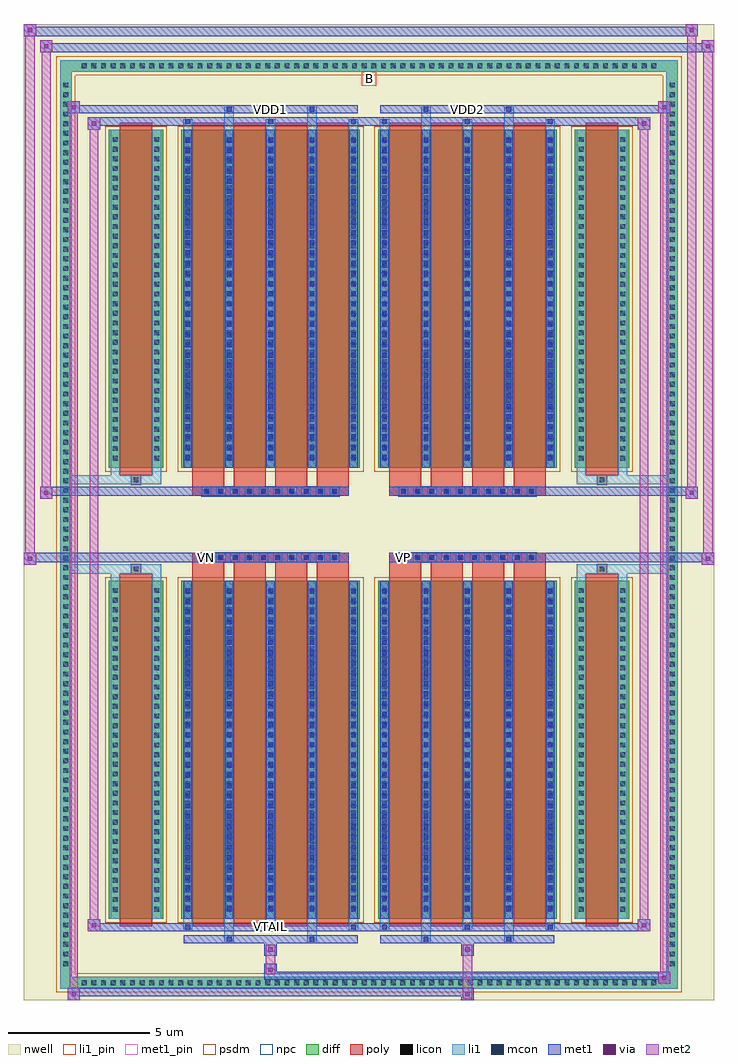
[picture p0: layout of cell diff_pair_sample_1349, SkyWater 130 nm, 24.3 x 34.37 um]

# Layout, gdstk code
import gdstk
lib = gdstk.Library(unit=1e-6, precision=5e-09)
def R(c, l, rs):  # rectangles x0, y0, x1, y1
    for r in rs: c.add(gdstk.rectangle(r[:2], r[2:], *l))
def A(c, l, x, y, w, h, nx, ny, dx, dy):  # array of equal rectangles
    R(c, l, [(x+i*dx, y+j*dy, x+i*dx+w, y+j*dy+h) for i in range(nx) for j in range(ny)])
def P(c, l, *ps):  # polygons
    for p in ps: c.add(gdstk.Polygon(p, *l))
nwell = (64, 20)
diff = (65, 20)
poly = (66, 20)
licon = (66, 44)
li1_pin = (67, 16)
li1 = (67, 20)
mcon = (67, 44)
met1_pin = (68, 16)
met1 = (68, 20)
via = (68, 44)
met2 = (69, 20)
psdm = (94, 20)
npc = (95, 20)

diff_pair_sample_1349 = lib.new_cell('diff_pair_sample_1349')
R(diff_pair_sample_1349, nwell, [(-12.15,-16.75,12.15,17.62), (-9.47,-14.94,-0.01,-0.8), (0.01,-14.94,9.47,-0.8), (-9.47,0.8,-0.01,14.94), (0.01,0.8,9.47,14.94)])
A(diff_pair_sample_1349, diff, -10.235, -16.35, 0.41, 0.41, 60, 2, 0.34, 32.29)
A(diff_pair_sample_1349, diff, -10.88, -15.675, 0.41, 0.41, 1, 92, 0, 0.34)
A(diff_pair_sample_1349, diff, 10.47, -15.675, 0.41, 0.41, 1, 92, 0, 0.34)
R(diff_pair_sample_1349, diff, [(-10.235,-16.35,10.235,-15.94), (-10.88,-15.675,-10.47,15.675), (10.47,-15.675,10.88,15.675), (-9.16,-13.895,-7.25,-1.985), (-6.61,-13.895,-0.32,-1.985), (0.32,-13.895,6.61,-1.985), (7.25,-13.895,9.16,-1.985), (-9.16,1.985,-7.25,13.895), (-6.61,1.985,-0.32,13.895), (0.32,1.985,6.61,13.895), (7.25,1.985,9.16,13.895), (-10.235,15.94,10.235,16.35)])
P(diff_pair_sample_1349, diff, [(10.88,16.35),(-10.88,16.35),(-10.88,-15.94),(-10.47,-15.94),(-10.47,15.94),(10.47,15.94),(10.47,-15.94),(-10.47,-15.94),(-10.88,-15.94),(-10.88,-16.35),(10.88,-16.35)])
A(diff_pair_sample_1349, poly, -6.22, -14.145, 1.13, 12.41, 4, 2, 1.46, 15.88)
A(diff_pair_sample_1349, poly, 0.71, -14.145, 1.13, 12.41, 4, 2, 1.46, 15.88)
A(diff_pair_sample_1349, poly, -6.22, -1.735, 1.13, 0.405, 4, 2, 1.46, 3.065)
A(diff_pair_sample_1349, poly, 0.71, -1.735, 1.13, 0.405, 4, 2, 1.46, 3.065)
A(diff_pair_sample_1349, poly, -5.88, -1.33, 0.33, 0.33, 10, 2, 0.5, 2.33)
A(diff_pair_sample_1349, poly, 1.05, -1.33, 0.33, 0.33, 10, 2, 0.5, 2.33)
R(diff_pair_sample_1349, poly, [(-8.77,-14.145,-7.64,-1.735), (7.64,-14.145,8.77,-1.735), (-8.37,-1.735,-8.04,-1.405), (-8.37,-1.735,-8.04,-1.405), (8.04,-1.735,8.37,-1.405), (8.04,-1.735,8.37,-1.405), (-6.22,-1.33,-0.71,-1), (0.71,-1.33,6.22,-1), (-6.22,1,-0.71,1.33), (0.71,1,6.22,1.33), (-8.37,1.405,-8.04,1.735), (-8.37,1.405,-8.04,1.735), (8.04,1.405,8.37,1.735), (8.04,1.405,8.37,1.735), (-8.77,1.735,-7.64,14.145), (7.64,1.735,8.77,14.145)])
A(diff_pair_sample_1349, licon, -10.115, -16.23, 0.17, 0.17, 60, 2, 0.34, 32.29)
A(diff_pair_sample_1349, licon, -10.76, -15.555, 0.17, 0.17, 1, 92, 0, 0.34)
A(diff_pair_sample_1349, licon, 10.59, -15.555, 0.17, 0.17, 1, 92, 0, 0.34)
A(diff_pair_sample_1349, licon, -9.02, -13.635, 0.17, 0.17, 1, 34, 0, 0.34)
A(diff_pair_sample_1349, licon, -7.56, -13.635, 0.17, 0.17, 1, 34, 0, 0.34)
A(diff_pair_sample_1349, licon, -6.47, -13.635, 0.17, 0.17, 5, 34, 1.46, 0.34)
A(diff_pair_sample_1349, licon, 0.46, -13.635, 0.17, 0.17, 5, 34, 1.46, 0.34)
A(diff_pair_sample_1349, licon, 7.39, -13.635, 0.17, 0.17, 1, 34, 0, 0.34)
A(diff_pair_sample_1349, licon, 8.85, -13.635, 0.17, 0.17, 1, 34, 0, 0.34)
A(diff_pair_sample_1349, licon, -5.8, -1.25, 0.17, 0.17, 10, 2, 0.5, 2.33)
A(diff_pair_sample_1349, licon, 1.13, -1.25, 0.17, 0.17, 10, 2, 0.5, 2.33)
A(diff_pair_sample_1349, licon, -9.02, 2.245, 0.17, 0.17, 1, 34, 0, 0.34)
A(diff_pair_sample_1349, licon, -7.56, 2.245, 0.17, 0.17, 1, 34, 0, 0.34)
A(diff_pair_sample_1349, licon, -6.47, 2.245, 0.17, 0.17, 5, 34, 1.46, 0.34)
A(diff_pair_sample_1349, licon, 0.46, 2.245, 0.17, 0.17, 5, 34, 1.46, 0.34)
A(diff_pair_sample_1349, licon, 7.39, 2.245, 0.17, 0.17, 1, 34, 0, 0.34)
A(diff_pair_sample_1349, licon, 8.85, 2.245, 0.17, 0.17, 1, 34, 0, 0.34)
R(diff_pair_sample_1349, licon, [(-8.29,-1.655,-8.12,-1.485), (8.12,-1.655,8.29,-1.485), (-8.29,1.485,-8.12,1.655), (8.12,1.485,8.29,1.655)])
R(diff_pair_sample_1349, li1_pin, [(-0.25,15.44,0.25,15.94)])
A(diff_pair_sample_1349, li1, -10.195, -16.31, 0.33, 0.33, 60, 2, 0.34, 32.29)
A(diff_pair_sample_1349, li1, -10.84, -15.635, 0.33, 0.33, 1, 92, 0, 0.34)
A(diff_pair_sample_1349, li1, 10.51, -15.635, 0.33, 0.33, 1, 92, 0, 0.34)
A(diff_pair_sample_1349, li1, -6.55, -14.27, 0.33, 0.375, 3, 2, 2.92, 28.165)
A(diff_pair_sample_1349, li1, -6.47, -14.27, 0.17, 0.17, 3, 2, 2.92, 28.37)
A(diff_pair_sample_1349, li1, 0.38, -14.27, 0.33, 0.375, 3, 2, 2.92, 28.165)
A(diff_pair_sample_1349, li1, 0.46, -14.27, 0.17, 0.17, 3, 2, 2.92, 28.37)
A(diff_pair_sample_1349, li1, -6.55, -13.895, 0.33, 11.91, 5, 2, 1.46, 15.88)
A(diff_pair_sample_1349, li1, 0.38, -13.895, 0.33, 11.91, 5, 2, 1.46, 15.88)
A(diff_pair_sample_1349, li1, -9.1, -13.715, 0.33, 0.33, 1, 34, 0, 0.34)
A(diff_pair_sample_1349, li1, -7.64, -13.715, 0.33, 0.33, 1, 34, 0, 0.34)
A(diff_pair_sample_1349, li1, -6.55, -13.715, 0.33, 0.33, 5, 34, 1.46, 0.34)
A(diff_pair_sample_1349, li1, 0.38, -13.715, 0.33, 0.33, 5, 34, 1.46, 0.34)
A(diff_pair_sample_1349, li1, 7.31, -13.715, 0.33, 0.33, 1, 34, 0, 0.34)
A(diff_pair_sample_1349, li1, 8.77, -13.715, 0.33, 0.33, 1, 34, 0, 0.34)
A(diff_pair_sample_1349, li1, -6.47, -13.605, 0.17, 0.17, 5, 32, 1.46, 0.36)
A(diff_pair_sample_1349, li1, -6.47, -13.605, 0.17, 11.33, 5, 2, 1.46, 15.88)
A(diff_pair_sample_1349, li1, 0.46, -13.605, 0.17, 0.17, 5, 32, 1.46, 0.36)
A(diff_pair_sample_1349, li1, 0.46, -13.605, 0.17, 11.33, 5, 2, 1.46, 15.88)
A(diff_pair_sample_1349, li1, -5.88, -1.33, 0.33, 0.33, 10, 2, 0.5, 2.33)
A(diff_pair_sample_1349, li1, 1.05, -1.33, 0.33, 0.33, 10, 2, 0.5, 2.33)
A(diff_pair_sample_1349, li1, -9.1, 2.165, 0.33, 0.33, 1, 34, 0, 0.34)
A(diff_pair_sample_1349, li1, -7.64, 2.165, 0.33, 0.33, 1, 34, 0, 0.34)
A(diff_pair_sample_1349, li1, -6.55, 2.165, 0.33, 0.33, 5, 34, 1.46, 0.34)
A(diff_pair_sample_1349, li1, 0.38, 2.165, 0.33, 0.33, 5, 34, 1.46, 0.34)
A(diff_pair_sample_1349, li1, 7.31, 2.165, 0.33, 0.33, 1, 34, 0, 0.34)
A(diff_pair_sample_1349, li1, 8.77, 2.165, 0.33, 0.33, 1, 34, 0, 0.34)
A(diff_pair_sample_1349, li1, -6.47, 2.275, 0.17, 0.17, 5, 32, 1.46, 0.36)
A(diff_pair_sample_1349, li1, 0.46, 2.275, 0.17, 0.17, 5, 32, 1.46, 0.36)
R(diff_pair_sample_1349, li1, [(-10.88,-16.35,-10.47,-15.94), (-10.88,-16.35,-10.47,-15.94), (-10.47,-16.35,10.47,-15.94), (10.47,-16.35,10.88,-15.94), (10.47,-16.35,10.88,-15.94), (-10.88,-15.94,-10.47,15.94), (10.47,-15.94,10.88,15.94), (-5.09,-14.7,-4.76,-13.895), (-5.01,-14.7,-4.84,-14.53), (-2.17,-14.7,-1.84,-13.895), (-2.09,-14.7,-1.92,-14.53), (1.84,-14.7,2.17,-13.895), (1.92,-14.7,2.09,-14.53), (4.76,-14.7,5.09,-13.895), (4.84,-14.7,5.01,-14.53), (-9.1,-13.895,-8.77,-1.985), (-7.64,-13.895,-7.31,-1.985), (7.31,-13.895,7.64,-1.985), (8.77,-13.895,9.1,-1.985), (-9.1,-1.985,-8.77,-1.405), (-7.64,-1.985,-7.31,-1.405), (7.31,-1.985,7.64,-1.405), (8.77,-1.985,9.1,-1.405), (-10.88,-1.735,-8.37,-1.405), (-9.1,-1.735,-8.37,-1.405), (-8.37,-1.735,-8.04,-1.405), (-8.04,-1.735,-7.31,-1.405), (7.31,-1.735,8.04,-1.405), (8.04,-1.735,8.37,-1.405), (8.04,-1.735,10.88,-1.405), (8.37,-1.735,9.1,-1.405), (-10.88,1.405,-8.37,1.735), (-9.1,1.405,-8.37,1.735), (-9.1,1.405,-8.77,1.985), (-8.37,1.405,-8.04,1.735), (-8.04,1.405,-7.31,1.735), (-7.64,1.405,-7.31,1.985), (7.31,1.405,8.04,1.735), (7.31,1.405,7.64,1.985), (8.04,1.405,8.37,1.735), (8.04,1.405,10.88,1.735), (8.37,1.405,9.1,1.735), (8.77,1.405,9.1,1.985), (-9.1,1.985,-8.77,13.895), (-7.64,1.985,-7.31,13.895), (7.31,1.985,7.64,13.895), (8.77,1.985,9.1,13.895), (-5.09,13.895,-4.76,14.7), (-2.17,13.895,-1.84,14.7), (1.84,13.895,2.17,14.7), (4.76,13.895,5.09,14.7), (-5.01,14.53,-4.84,14.7), (-2.09,14.53,-1.92,14.7), (1.92,14.53,2.09,14.7), (4.84,14.53,5.01,14.7), (-10.88,15.94,-10.47,16.35), (-10.88,15.94,-10.47,16.35), (-10.47,15.94,10.47,16.35), (10.47,15.94,10.88,16.35), (10.47,15.94,10.88,16.35)])
A(diff_pair_sample_1349, mcon, -6.47, -14.27, 0.17, 0.17, 3, 2, 2.92, 28.37)
A(diff_pair_sample_1349, mcon, 0.46, -14.27, 0.17, 0.17, 3, 2, 2.92, 28.37)
A(diff_pair_sample_1349, mcon, -6.47, -13.605, 0.17, 0.17, 5, 32, 1.46, 0.36)
A(diff_pair_sample_1349, mcon, 0.46, -13.605, 0.17, 0.17, 5, 32, 1.46, 0.36)
A(diff_pair_sample_1349, mcon, -5.8, -1.25, 0.17, 0.17, 10, 2, 0.5, 2.33)
A(diff_pair_sample_1349, mcon, 1.13, -1.25, 0.17, 0.17, 10, 2, 0.5, 2.33)
A(diff_pair_sample_1349, mcon, -6.47, 2.275, 0.17, 0.17, 5, 32, 1.46, 0.36)
A(diff_pair_sample_1349, mcon, 0.46, 2.275, 0.17, 0.17, 5, 32, 1.46, 0.36)
R(diff_pair_sample_1349, mcon, [(-5.01,-14.7,-4.84,-14.53), (-2.09,-14.7,-1.92,-14.53), (1.92,-14.7,2.09,-14.53), (4.84,-14.7,5.01,-14.53), (-5.01,14.53,-4.84,14.7), (-2.09,14.53,-1.92,14.7), (1.92,14.53,2.09,14.7), (4.84,14.53,5.01,14.7)])
R(diff_pair_sample_1349, met1_pin, [(-3.6,-14.31,-3.33,-14.04), (-5.85,-1.29,-5.58,-1.02), (1.08,-1.29,1.35,-1.02), (-3.6,14.49,-3.33,14.76), (3.33,14.49,3.6,14.76)])
A(diff_pair_sample_1349, met1, -6.53, -14.33, 0.29, 0.29, 3, 2, 2.92, 28.37)
A(diff_pair_sample_1349, met1, 0.4, -14.33, 0.29, 0.29, 3, 2, 2.92, 28.37)
A(diff_pair_sample_1349, met1, -6.53, -13.895, 0.29, 11.91, 5, 2, 1.46, 15.88)
A(diff_pair_sample_1349, met1, 0.4, -13.895, 0.29, 11.91, 5, 2, 1.46, 15.88)
A(diff_pair_sample_1349, met1, -6.53, -13.665, 0.29, 0.29, 5, 32, 1.46, 0.36)
A(diff_pair_sample_1349, met1, 0.4, -13.665, 0.29, 0.29, 5, 32, 1.46, 0.36)
A(diff_pair_sample_1349, met1, -5.86, -1.31, 0.29, 0.29, 10, 2, 0.5, 2.33)
A(diff_pair_sample_1349, met1, 1.07, -1.31, 0.29, 0.29, 10, 2, 0.5, 2.33)
A(diff_pair_sample_1349, met1, -6.53, 2.215, 0.29, 0.29, 5, 32, 1.46, 0.36)
A(diff_pair_sample_1349, met1, 0.4, 2.215, 0.29, 0.29, 5, 32, 1.46, 0.36)
R(diff_pair_sample_1349, met1, [(-10.61,-16.75,-10.18,-16.32), (3.25,-16.75,3.68,-16.32), (-10.61,-16.61,3.68,-16.32), (10.18,-16.18,10.61,-15.75), (-3.68,-16.04,10.61,-15.75), (-3.68,-15.9,-3.25,-15.47), (-3.68,-15.19,-3.25,-14.76), (3.25,-15.19,3.68,-14.76), (-6.53,-14.76,-0.4,-14.47), (-5.07,-14.76,-4.78,-14.47), (-2.15,-14.76,-1.86,-14.47), (0.4,-14.76,6.53,-14.47), (1.86,-14.76,2.15,-14.47), (4.78,-14.76,5.07,-14.47), (-9.9,-14.33,-9.47,-13.9), (-9.9,-14.33,-6.53,-14.04), (-6.53,-14.33,-0.4,-14.04), (-0.4,-14.33,0.4,-14.04), (0.4,-14.33,6.53,-14.04), (6.53,-14.33,9.9,-14.04), (9.47,-14.33,9.9,-13.9), (-12.15,-1.43,-11.72,-1), (11.72,-1.43,12.15,-1), (-12.15,-1.33,-0.71,-1), (-6.22,-1.33,-0.71,-1), (0.71,-1.33,6.22,-1), (0.71,-1.33,12.15,-1), (-11.58,0.9,-11.15,1.33), (11.15,0.9,11.58,1.33), (-11.58,1,-6.22,1.33), (-6.22,1,-0.71,1.33), (0.71,1,6.22,1.33), (6.22,1,11.58,1.33), (-9.9,13.9,-9.47,14.33), (9.47,13.9,9.9,14.33), (-9.9,14.04,-6.53,14.33), (-6.53,14.04,-0.4,14.33), (-0.4,14.04,0.4,14.33), (0.4,14.04,6.53,14.33), (6.53,14.04,9.9,14.33), (-10.61,14.47,-10.18,14.9), (-10.61,14.47,-6.53,14.76), (-6.53,14.47,-0.4,14.76), (-5.07,14.47,-4.78,14.76), (-2.15,14.47,-1.86,14.76), (0.4,14.47,6.53,14.76), (1.86,14.47,2.15,14.76), (4.78,14.47,5.07,14.76), (6.53,14.47,10.61,14.76), (10.18,14.47,10.61,14.9), (-11.58,16.62,-11.15,17.05), (-11.58,16.62,-9.47,16.95), (-9.47,16.62,9.47,16.95), (9.47,16.62,12.15,16.95), (11.72,16.62,12.15,17.05), (-12.15,17.19,-11.72,17.62), (-12.15,17.19,-9.47,17.52), (-9.47,17.19,9.47,17.52), (9.47,17.19,11.58,17.52), (11.15,17.19,11.58,17.62)])
R(diff_pair_sample_1349, via, [(-10.47,-16.61,-10.32,-16.46), (3.39,-16.61,3.54,-16.46), (10.32,-16.04,10.47,-15.89), (-3.54,-15.76,-3.39,-15.61), (-3.54,-15.05,-3.39,-14.9), (3.39,-15.05,3.54,-14.9), (-9.76,-14.19,-9.61,-14.04), (9.61,-14.19,9.76,-14.04), (-12.01,-1.29,-11.86,-1.14), (11.86,-1.29,12.01,-1.14), (-11.44,1.04,-11.29,1.19), (11.29,1.04,11.44,1.19), (-9.76,14.04,-9.61,14.19), (9.61,14.04,9.76,14.19), (-10.47,14.61,-10.32,14.76), (10.32,14.61,10.47,14.76), (-11.44,16.76,-11.29,16.91), (11.86,16.76,12.01,16.91), (-12.01,17.33,-11.86,17.48), (11.29,17.33,11.44,17.48)])
R(diff_pair_sample_1349, met2, [(-10.61,-16.75,-10.18,-16.32), (-10.54,-16.75,-10.25,14.9), (-10.25,-16.75,-10.18,-16.32), (-10.56,-16.7,-10.23,-16.37), (3.3,-16.7,3.63,-16.37), (3.3,-16.37,3.63,-15.14), (10.18,-16.18,10.61,-15.75), (10.25,-16.18,10.54,14.9), (10.54,-16.18,10.61,-15.75), (10.23,-16.13,10.56,-15.8), (-3.63,-15.85,-3.3,-15.52), (-3.63,-15.52,-3.3,-15.14), (-3.63,-15.14,-3.3,-14.81), (3.3,-15.14,3.63,-14.81), (-9.9,-14.33,-9.47,-13.9), (-9.83,-14.33,-9.54,14.33), (-9.54,-14.33,-9.47,-13.9), (9.47,-14.33,9.9,-13.9), (9.54,-14.33,9.83,14.33), (9.83,-14.33,9.9,-13.9), (-9.85,-14.28,-9.52,-13.95), (9.52,-14.28,9.85,-13.95), (-12.15,-1.43,-11.72,-1), (-12.1,-1.43,-11.77,17.62), (-11.77,-1.43,-11.72,-1), (11.72,-1.43,12.15,-1), (11.77,-1.43,12.1,17.05), (12.1,-1.43,12.15,-1), (-12.1,-1.38,-11.77,-1.05), (11.77,-1.38,12.1,-1.05), (-11.58,0.9,-11.15,1.33), (-11.53,0.9,-11.2,17.05), (-11.2,0.9,-11.15,1.33), (11.15,0.9,11.58,1.33), (11.2,0.9,11.53,17.62), (11.53,0.9,11.58,1.33), (-11.53,0.95,-11.2,1.28), (11.2,0.95,11.53,1.28), (-9.9,13.9,-9.47,14.33), (-9.54,13.9,-9.47,14.33), (9.47,13.9,9.9,14.33), (9.83,13.9,9.9,14.33), (-9.85,13.95,-9.52,14.28), (9.52,13.95,9.85,14.28), (-10.61,14.47,-10.18,14.9), (-10.25,14.47,-10.18,14.9), (10.18,14.47,10.61,14.9), (10.54,14.47,10.61,14.9), (-10.56,14.52,-10.23,14.85), (10.23,14.52,10.56,14.85), (-11.58,16.62,-11.15,17.05), (-11.2,16.62,-11.15,17.05), (11.72,16.62,12.15,17.05), (12.1,16.62,12.15,17.05), (-11.53,16.67,-11.2,17), (11.77,16.67,12.1,17), (-12.15,17.19,-11.72,17.62), (-11.77,17.19,-11.72,17.62), (11.15,17.19,11.58,17.62), (11.53,17.19,11.58,17.62), (-12.1,17.24,-11.77,17.57), (11.2,17.24,11.53,17.57)])
R(diff_pair_sample_1349, psdm, [(-9.29,-14.025,-7.12,-1.855), (-6.74,-14.025,-0.19,-1.855), (0.19,-14.025,6.74,-1.855), (7.12,-14.025,9.29,-1.855), (-9.29,1.855,-7.12,14.025), (-6.74,1.855,-0.19,14.025), (0.19,1.855,6.74,14.025), (7.12,1.855,9.29,14.025)])
P(diff_pair_sample_1349, psdm, [(11.01,16.48),(-11.01,16.48),(-11.01,-15.81),(-10.34,-15.81),(-10.34,15.81),(10.34,15.81),(10.34,-15.81),(-10.34,-15.81),(-11.01,-15.81),(-11.01,-16.48),(11.01,-16.48)])
A(diff_pair_sample_1349, npc, -5.9, -1.35, 0.37, 0.37, 10, 2, 0.5, 2.33)
A(diff_pair_sample_1349, npc, 1.03, -1.35, 0.37, 0.37, 10, 2, 0.5, 2.33)
R(diff_pair_sample_1349, npc, [(-8.39,-1.755,-8.02,-1.385), (8.02,-1.755,8.39,-1.385), (-5.9,-1.35,-5.03,-0.98), (-5.9,-1.35,-5.03,-0.98), (-5.4,-1.35,-4.53,-0.98), (-5.4,-1.35,-4.53,-0.98), (-4.9,-1.35,-4.03,-0.98), (-4.9,-1.35,-4.03,-0.98), (-4.4,-1.35,-3.53,-0.98), (-4.4,-1.35,-3.53,-0.98), (-3.9,-1.35,-3.03,-0.98), (-3.9,-1.35,-3.03,-0.98), (-3.4,-1.35,-2.53,-0.98), (-3.4,-1.35,-2.53,-0.98), (-2.9,-1.35,-2.03,-0.98), (-2.9,-1.35,-2.03,-0.98), (-2.4,-1.35,-1.53,-0.98), (-2.4,-1.35,-1.53,-0.98), (-1.9,-1.35,-1.03,-0.98), (-1.9,-1.35,-1.03,-0.98), (1.03,-1.35,1.9,-0.98), (1.03,-1.35,1.9,-0.98), (1.53,-1.35,2.4,-0.98), (1.53,-1.35,2.4,-0.98), (2.03,-1.35,2.9,-0.98), (2.03,-1.35,2.9,-0.98), (2.53,-1.35,3.4,-0.98), (2.53,-1.35,3.4,-0.98), (3.03,-1.35,3.9,-0.98), (3.03,-1.35,3.9,-0.98), (3.53,-1.35,4.4,-0.98), (3.53,-1.35,4.4,-0.98), (4.03,-1.35,4.9,-0.98), (4.03,-1.35,4.9,-0.98), (4.53,-1.35,5.4,-0.98), (4.53,-1.35,5.4,-0.98), (5.03,-1.35,5.9,-0.98), (5.03,-1.35,5.9,-0.98), (-5.9,0.98,-5.03,1.35), (-5.9,0.98,-5.03,1.35), (-5.4,0.98,-4.53,1.35), (-5.4,0.98,-4.53,1.35), (-4.9,0.98,-4.03,1.35), (-4.9,0.98,-4.03,1.35), (-4.4,0.98,-3.53,1.35), (-4.4,0.98,-3.53,1.35), (-3.9,0.98,-3.03,1.35), (-3.9,0.98,-3.03,1.35), (-3.4,0.98,-2.53,1.35), (-3.4,0.98,-2.53,1.35), (-2.9,0.98,-2.03,1.35), (-2.9,0.98,-2.03,1.35), (-2.4,0.98,-1.53,1.35), (-2.4,0.98,-1.53,1.35), (-1.9,0.98,-1.03,1.35), (-1.9,0.98,-1.03,1.35), (1.03,0.98,1.9,1.35), (1.03,0.98,1.9,1.35), (1.53,0.98,2.4,1.35), (1.53,0.98,2.4,1.35), (2.03,0.98,2.9,1.35), (2.03,0.98,2.9,1.35), (2.53,0.98,3.4,1.35), (2.53,0.98,3.4,1.35), (3.03,0.98,3.9,1.35), (3.03,0.98,3.9,1.35), (3.53,0.98,4.4,1.35), (3.53,0.98,4.4,1.35), (4.03,0.98,4.9,1.35), (4.03,0.98,4.9,1.35), (4.53,0.98,5.4,1.35), (4.53,0.98,5.4,1.35), (5.03,0.98,5.9,1.35), (5.03,0.98,5.9,1.35), (-8.39,1.385,-8.02,1.755), (8.02,1.385,8.39,1.755)])
diff_pair_sample_1349.add(gdstk.Label('VTAIL', (-3.465,-14.175), layer=68, texttype=5))
diff_pair_sample_1349.add(gdstk.Label('VN', (-5.715,-1.155), layer=68, texttype=5))
diff_pair_sample_1349.add(gdstk.Label('VP', (1.215,-1.155), layer=68, texttype=5))
diff_pair_sample_1349.add(gdstk.Label('B', (0,15.69), layer=67, texttype=5))
diff_pair_sample_1349.add(gdstk.Label('VDD2', (3.465,14.625), layer=68, texttype=5))
diff_pair_sample_1349.add(gdstk.Label('VDD1', (-3.465,14.625), layer=68, texttype=5))

lib.write_gds('diff_pair_sample_1349.gds')
